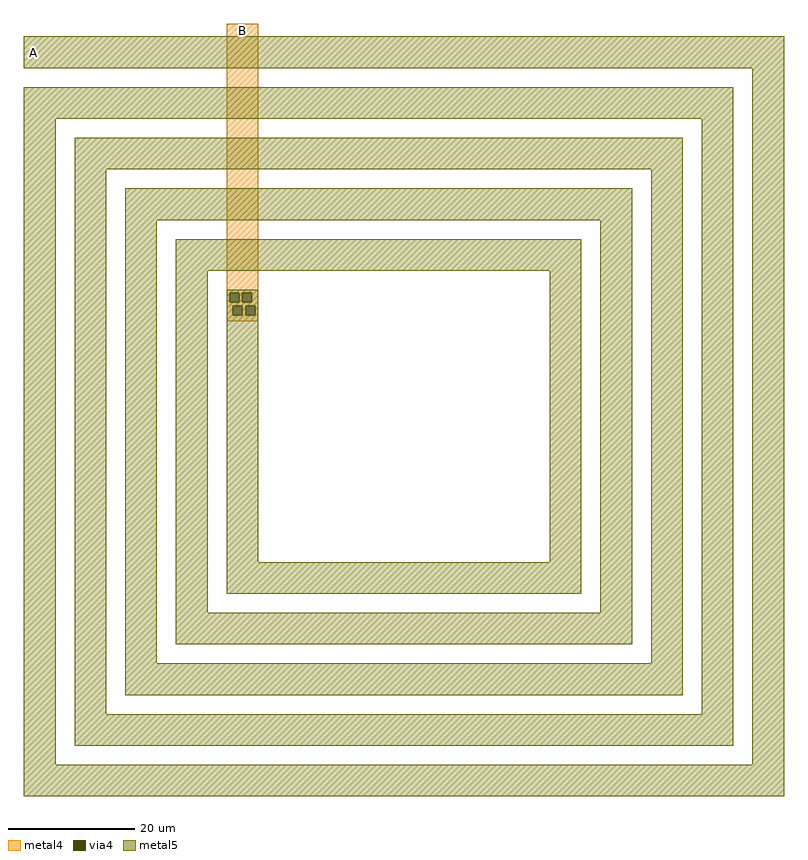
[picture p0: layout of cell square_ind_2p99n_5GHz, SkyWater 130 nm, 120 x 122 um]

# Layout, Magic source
magic
tech sky130B
<< metal4 >>
rect 2700 -3550 3200 700
rect 2700 -3700 2750 -3550
rect 2900 -3700 2950 -3550
rect 3100 -3700 3200 -3550
rect 2700 -3750 3200 -3700
rect 2700 -3900 2800 -3750
rect 2950 -3900 3000 -3750
rect 3150 -3900 3200 -3750
rect 2700 -4000 3200 -3900
<< via4 >>
rect 2750 -3700 2900 -3550
rect 2950 -3700 3100 -3550
rect 2800 -3900 2950 -3750
rect 3000 -3900 3150 -3750
<< metal5 >>
rect -500 0 11500 500
rect -500 -800 10700 -300
rect -500 -11000 0 -800
rect 300 -1600 9900 -1100
rect 300 -10200 800 -1600
rect 1100 -2400 9100 -1900
rect 1100 -9400 1600 -2400
rect 1900 -3200 8300 -2700
rect 1900 -8600 2400 -3200
rect 2700 -3550 3200 -3500
rect 2700 -3700 2750 -3550
rect 2900 -3700 2950 -3550
rect 3100 -3700 3200 -3550
rect 2700 -3750 3200 -3700
rect 2700 -3900 2800 -3750
rect 2950 -3900 3000 -3750
rect 3150 -3900 3200 -3750
rect 2700 -7800 3200 -3900
rect 7800 -7800 8300 -3200
rect 2700 -8300 8300 -7800
rect 8600 -8600 9100 -2400
rect 1900 -9100 9100 -8600
rect 9400 -9400 9900 -1600
rect 1100 -9900 9900 -9400
rect 10200 -10200 10700 -800
rect 300 -10700 10700 -10200
rect 11000 -11000 11500 0
rect -500 -11500 11500 -11000
<< labels >>
rlabel metal4 2700 500 3200 700 1 B
rlabel metal5 -500 0 -200 500 1 A
<< end >>
